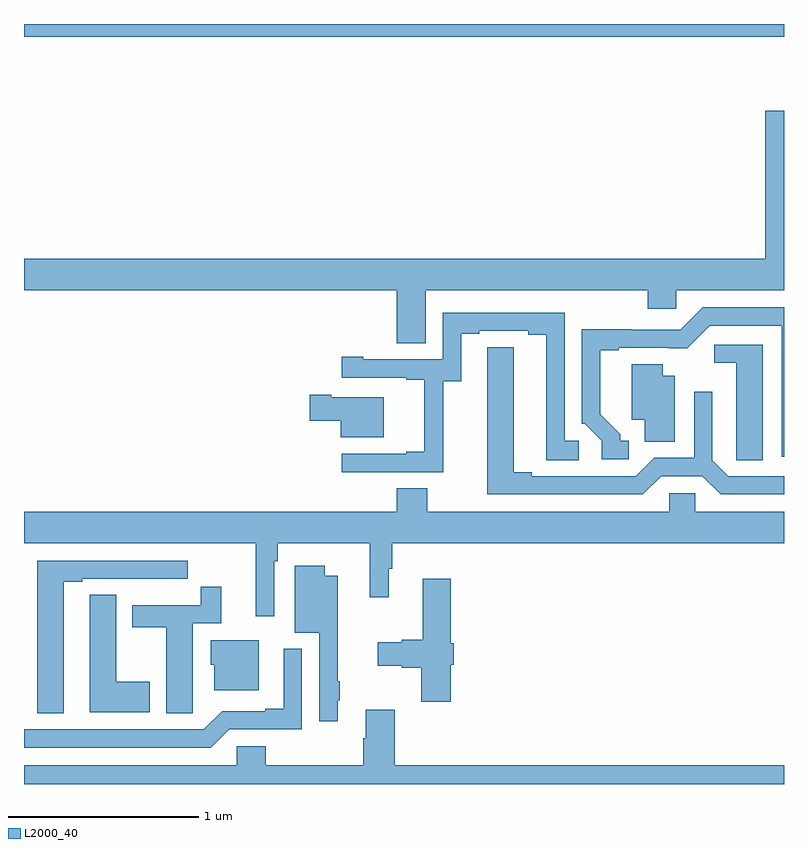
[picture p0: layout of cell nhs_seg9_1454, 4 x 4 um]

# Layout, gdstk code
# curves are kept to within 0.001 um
import gdstk
lib = gdstk.Library(unit=1e-6, precision=1e-09)
def R(c, l, rs):  # rectangles x0, y0, x1, y1
    for r in rs: c.add(gdstk.rectangle(r[:2], r[2:], *l))
def P(c, l, *ps):  # polygons
    for p in ps: c.add(gdstk.Polygon(p, *l))
L2000_40 = (2000, 40)

nhs_seg9_1454 = lib.new_cell('nhs_seg9_1454')
R(nhs_seg9_1454, L2000_40, [(193,1184.432,197,1184.5)])
P(nhs_seg9_1454, L2000_40, [(195.115,1183.1),(196.283,1183.1),(196.283,1183.002),(196.434,1183.002),(196.434,1183.1),(197,1183.1),(197,1184.044),(196.901,1184.044),(196.901,1183.264),(193,1183.264),(193,1183.1),(194.963,1183.1),(194.963,1182.82),(195.115,1182.82)],
  [(196.183,1182.306),(196.138,1182.306),(196.138,1182.341),(196.033,1182.446),(196.033,1182.783),(196.129,1182.783),(196.129,1182.795),(196.49,1182.794),(196.608,1182.912),(196.988,1182.912),(196.988,1182.222),(197,1182.222),(197,1183.008),(196.572,1183.008),(196.455,1182.891),(196.199,1182.891),(196.199,1182.893),(195.936,1182.893),(195.936,1182.396),(195.951,1182.396),(196.041,1182.306),(196.041,1182.21),(196.183,1182.21)],
  [(195.207,1182.619),(195.301,1182.619),(195.301,1182.87),(195.397,1182.87),(195.397,1182.885),(195.653,1182.885),(195.653,1182.865),(195.749,1182.865),(195.749,1182.205),(195.919,1182.205),(195.919,1182.306),(195.846,1182.306),(195.846,1182.981),(195.204,1182.981),(195.204,1182.735),(194.785,1182.735),(194.785,1182.748),(194.673,1182.748),(194.673,1182.639),(195.011,1182.639),(195.011,1182.627),(195.107,1182.627),(195.107,1182.25),(195.011,1182.25),(195.011,1182.237),(194.673,1182.237),(194.673,1182.141),(195.207,1182.141)],
  [(196.888,1182.813),(196.632,1182.813),(196.632,1182.716),(196.748,1182.716),(196.748,1182.313),(196.749,1182.313),(196.749,1182.205),(196.888,1182.205)],
  [(196.353,1182.12),(196.571,1182.12),(196.667,1182.024),(197,1182.024),(197,1182.12),(196.707,1182.12),(196.623,1182.204),(196.623,1182.565),(196.527,1182.565),(196.527,1182.216),(196.317,1182.216),(196.221,1182.12),(195.673,1182.12),(195.673,1182.14),(195.577,1182.14),(195.577,1182.8),(195.438,1182.8),(195.437,1182.024),(196.257,1182.024)],
  [(196.426,1182.649),(196.363,1182.649),(196.363,1182.71),(196.199,1182.71),(196.199,1182.416),(196.268,1182.416),(196.268,1182.301),(196.426,1182.301)],
  [(194.893,1182.535),(194.617,1182.535),(194.617,1182.548),(194.505,1182.548),(194.505,1182.413),(194.666,1182.413),(194.666,1182.326),(194.893,1182.326)],
  [(194.316,1181.672),(194.336,1181.672),(194.336,1181.768),(194.821,1181.768),(194.821,1181.484),(194.92,1181.484),(194.92,1181.634),(194.939,1181.634),(194.939,1181.768),(197,1181.768),(197,1181.932),(196.533,1181.932),(196.533,1182.03),(196.395,1182.03),(196.395,1181.932),(195.123,1181.932),(195.123,1182.056),(194.963,1182.056),(194.963,1181.932),(193,1181.932),(193,1181.768),(194.219,1181.768),(194.219,1181.382),(194.316,1181.382)],
  [(193.21,1181.565),(193.306,1181.565),(193.306,1181.58),(193.582,1181.58),(193.582,1181.579),(193.748,1181.579),(193.748,1181.58),(193.861,1181.58),(193.861,1181.676),(193.07,1181.676),(193.07,1180.873),(193.21,1180.873)],
  [(194.65,1180.942),(194.662,1180.942),(194.662,1181.042),(194.651,1181.042),(194.651,1181.301),(194.65,1181.301),(194.65,1181.596),(194.584,1181.596),(194.584,1181.65),(194.426,1181.65),(194.426,1181.297),(194.553,1181.297),(194.553,1180.83),(194.65,1180.83)],
  [(195.245,1181.127),(195.263,1181.127),(195.263,1181.241),(195.245,1181.241),(195.245,1181.581),(195.098,1181.581),(195.098,1181.258),(194.988,1181.258),(194.988,1181.245),(194.862,1181.245),(194.862,1181.123),(194.988,1181.123),(194.988,1181.111),(195.091,1181.111),(195.091,1180.932),(195.245,1180.932)],
  [(193.887,1180.984),(193.888,1180.984),(193.888,1181.346),(194.039,1181.346),(194.039,1181.539),(193.93,1181.539),(193.93,1181.442),(193.571,1181.442),(193.571,1181.326),(193.748,1181.326),(193.748,1180.873),(193.887,1180.873)],
  [(193.663,1181.037),(193.486,1181.037),(193.486,1181.495),(193.347,1181.495),(193.347,1181.387),(193.346,1181.387),(193.346,1180.877),(193.663,1180.877)],
  [(194.236,1181.257),(193.982,1181.257),(193.982,1181.127),(194,1181.127),(194,1180.994),(194.236,1180.994)],
  [(194.079,1180.788),(194.463,1180.788),(194.463,1181.212),(194.366,1181.212),(194.366,1180.897),(194.27,1180.897),(194.27,1180.884),(194.043,1180.884),(193.947,1180.788),(193,1180.788),(193,1180.692),(193.983,1180.692)],
  [(197,1180.6),(194.951,1180.6),(194.951,1180.891),(194.798,1180.891),(194.798,1180.742),(194.786,1180.742),(194.786,1180.6),(194.273,1180.6),(194.273,1180.698),(194.121,1180.698),(194.121,1180.6),(193,1180.6),(193,1180.5),(197,1180.5)])

lib.write_gds('nhs_seg9_1454.gds')
